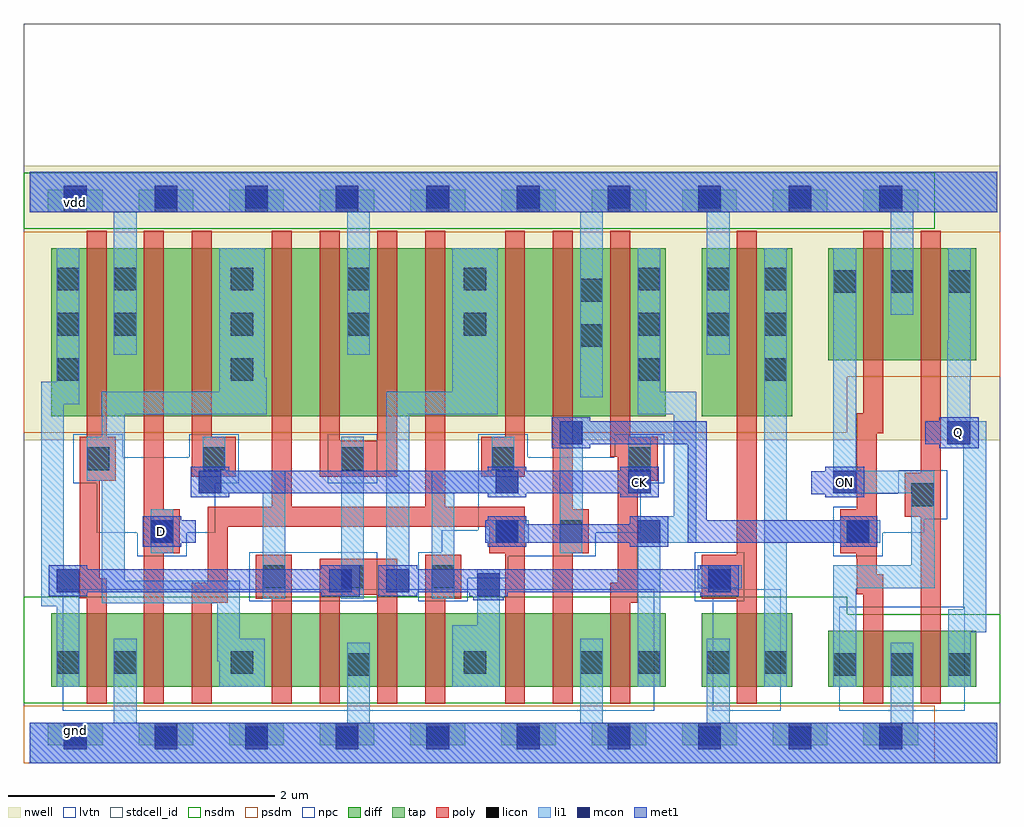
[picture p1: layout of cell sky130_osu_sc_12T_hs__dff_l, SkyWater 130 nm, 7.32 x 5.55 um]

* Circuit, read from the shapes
.subckt sky130_osu_sc_12T_hs__dff_l CK D ON Q gnd vdd
XM1 gnd n1 n2 gnd sky130_fd_pr__nfet_01v8_lvt w=0.55 l=0.15
XM2 n3 D gnd gnd sky130_fd_pr__nfet_01v8_lvt w=0.55 l=0.15
XM3 n1 n4 n3 gnd sky130_fd_pr__nfet_01v8_lvt w=0.55 l=0.15
XM4 n5 CK n1 gnd sky130_fd_pr__nfet_01v8_lvt w=0.55 l=0.15
XM5 gnd n2 n5 gnd sky130_fd_pr__nfet_01v8_lvt w=0.55 l=0.15
XM6 n6 n2 gnd gnd sky130_fd_pr__nfet_01v8_lvt w=0.55 l=0.15
XM7 n7 CK n6 gnd sky130_fd_pr__nfet_01v8_lvt w=0.55 l=0.15
XM8 n8 n4 n7 gnd sky130_fd_pr__nfet_01v8_lvt w=0.55 l=0.15
XM9 gnd n9 n8 gnd sky130_fd_pr__nfet_01v8_lvt w=0.55 l=0.15
XM10 n4 CK gnd gnd sky130_fd_pr__nfet_01v8_lvt w=0.55 l=0.15
XM11 n9 n7 gnd gnd sky130_fd_pr__nfet_01v8_lvt w=0.55 l=0.15
XM12 gnd n9 ON gnd sky130_fd_pr__nfet_01v8_lvt w=0.42 l=0.15
XM13 Q ON gnd gnd sky130_fd_pr__nfet_01v8_lvt w=0.42 l=0.15
XM14 vdd n1 n2 vdd sky130_fd_pr__pfet_01v8 w=1.26 l=0.15
XM15 n10 D vdd vdd sky130_fd_pr__pfet_01v8 w=1.26 l=0.15
XM16 n1 CK n10 vdd sky130_fd_pr__pfet_01v8 w=1.26 l=0.15
XM17 n11 n4 n1 vdd sky130_fd_pr__pfet_01v8 w=1.26 l=0.15
XM18 vdd n2 n11 vdd sky130_fd_pr__pfet_01v8 w=1.26 l=0.15
XM19 n12 n2 vdd vdd sky130_fd_pr__pfet_01v8 w=1.26 l=0.15
XM20 n7 n4 n12 vdd sky130_fd_pr__pfet_01v8 w=1.26 l=0.15
XM21 n13 CK n7 vdd sky130_fd_pr__pfet_01v8 w=1.26 l=0.15
XM22 vdd n9 n13 vdd sky130_fd_pr__pfet_01v8 w=1.26 l=0.15
XM23 n4 CK vdd vdd sky130_fd_pr__pfet_01v8 w=1.26 l=0.15
XM24 n9 n7 vdd vdd sky130_fd_pr__pfet_01v8 w=1.26 l=0.15
XM25 vdd n9 ON vdd sky130_fd_pr__pfet_01v8 w=0.84 l=0.15
XM26 Q ON vdd vdd sky130_fd_pr__pfet_01v8 w=0.84 l=0.15
.ends

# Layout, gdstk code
import gdstk
lib = gdstk.Library(unit=1e-6, precision=1e-09)
def R(c, l, rs):  # rectangles x0, y0, x1, y1
    for r in rs: c.add(gdstk.rectangle(r[:2], r[2:], *l))
def A(c, l, x, y, w, h, nx, ny, dx, dy):  # array of equal rectangles
    R(c, l, [(x+i*dx, y+j*dy, x+i*dx+w, y+j*dy+h) for i in range(nx) for j in range(ny)])
nwell = (64, 20)
diff = (65, 20)
tap = (65, 44)
poly = (66, 20)
licon = (66, 44)
li1 = (67, 20)
mcon = (67, 44)
met1 = (68, 20)
stdcell_id = (81, 4)
nsdm = (93, 44)
psdm = (94, 20)
npc = (95, 20)
lvtn = (125, 44)

sky130_osu_sc_12t_hs__df = lib.new_cell('sky130_osu_sc_12T_hs__dff_l')
R(sky130_osu_sc_12t_hs__df, nwell, [(-0.045,2.425,7.28,4.485)])
R(sky130_osu_sc_12t_hs__df, diff, [(0.16,0.575,4.77,1.125), (5.04,0.575,5.72,1.125), (5.99,0.575,7.1,0.995), (0.16,2.605,4.77,3.865), (5.04,2.605,5.72,3.865), (5.99,3.025,7.1,3.865)])
A(sky130_osu_sc_12t_hs__df, tap, 0.135, 0.135, 0.41, 0.17, 10, 2, 0.68, 4)
R(sky130_osu_sc_12t_hs__df, poly, [(0.425,0.445,0.575,1.24), (0.855,0.445,1.005,1.575), (1.215,0.445,1.365,1.205), (1.815,0.445,1.965,1.235), (2.175,0.445,2.325,1.265), (2.605,0.445,2.755,1.265), (2.965,0.445,3.115,1.235), (3.565,0.445,3.715,1.575), (3.925,0.445,4.075,1.575), (4.355,0.445,4.505,1.205), (5.305,0.445,5.455,1.235), (6.255,0.445,6.405,1.27), (6.685,0.445,6.835,1.85), (1.215,1.205,1.485,1.355), (4.355,1.205,4.56,1.355), (1.695,1.235,1.965,1.565), (2.965,1.235,3.235,1.565), (5.04,1.235,5.455,1.565), (0.375,1.24,0.575,1.39), (2.175,1.265,2.755,1.535), (6.205,1.27,6.405,1.42), (1.335,1.355,1.485,1.775), (4.41,1.355,4.56,2.12), (0.375,1.39,0.525,2.12), (6.205,1.42,6.355,1.54), (6.2,1.54,6.355,1.575), (5.305,1.565,5.455,3.995), (0.855,1.575,1.125,1.905), (3.445,1.575,3.715,1.775), (3.925,1.575,4.195,1.905), (6.08,1.575,6.355,1.905), (1.335,1.775,3.715,1.925), (6.565,1.85,6.835,2.18), (0.855,1.905,1.005,3.995), (3.925,1.905,4.075,3.995), (6.205,1.905,6.355,2.475), (1.815,1.925,1.965,3.995), (2.965,1.925,3.115,3.995), (0.375,2.12,0.645,2.45), (4.41,2.12,4.71,2.3), (1.215,2.15,1.545,2.45), (2.175,2.15,2.755,2.42), (3.385,2.15,3.715,2.45), (6.685,2.18,6.835,3.995), (4.355,2.3,4.71,2.45), (2.175,2.42,2.325,3.995), (2.605,2.42,2.755,3.995), (0.425,2.45,0.575,3.995), (1.215,2.45,1.365,3.995), (3.565,2.45,3.715,3.995), (4.355,2.45,4.505,3.995), (6.205,2.475,6.405,2.625), (6.255,2.625,6.405,3.995)])
A(sky130_osu_sc_12t_hs__df, licon, 0.255, 0.135, 0.17, 0.17, 10, 2, 0.68, 4)
A(sky130_osu_sc_12t_hs__df, licon, 6.03, 0.655, 0.17, 0.17, 3, 2, 0.43, 2.875)
A(sky130_osu_sc_12t_hs__df, licon, 0.2, 2.87, 0.17, 0.17, 1, 3, 0, 0.34)
A(sky130_osu_sc_12t_hs__df, licon, 4.56, 2.87, 0.17, 0.17, 1, 3, 0, 0.34)
A(sky130_osu_sc_12t_hs__df, licon, 5.51, 2.87, 0.17, 0.17, 1, 3, 0, 0.34)
A(sky130_osu_sc_12t_hs__df, licon, 0.63, 3.21, 0.17, 0.17, 4, 2, 0.875, 0.34)
R(sky130_osu_sc_12t_hs__df, licon, [(2.38,0.655,2.55,0.825), (0.2,0.67,0.37,0.84), (0.63,0.67,0.8,0.84), (1.505,0.67,1.675,0.84), (3.255,0.67,3.425,0.84), (4.13,0.67,4.3,0.84), (4.56,0.67,4.73,0.84), (5.08,0.67,5.25,0.84), (5.51,0.67,5.68,0.84), (1.745,1.315,1.915,1.485), (2.335,1.315,2.505,1.485), (3.015,1.315,3.185,1.485), (5.09,1.315,5.26,1.485), (0.905,1.655,1.075,1.825), (3.495,1.655,3.665,1.825), (3.975,1.655,4.145,1.825), (6.13,1.655,6.3,1.825), (6.615,1.93,6.785,2.1), (0.425,2.2,0.595,2.37), (1.295,2.2,1.465,2.37), (2.335,2.2,2.505,2.37), (3.465,2.2,3.635,2.37), (4.49,2.2,4.66,2.37), (1.505,2.87,1.675,3.04), (4.13,3.125,4.3,3.295), (5.08,3.21,5.25,3.38), (4.13,3.465,4.3,3.635), (5.08,3.55,5.25,3.72)])
R(sky130_osu_sc_12t_hs__df, li1, [(0,0,7.26,0.305), (0.63,0.305,0.8,0.935), (2.38,0.305,2.55,0.905), (4.13,0.305,4.3,0.935), (5.08,0.305,5.25,0.935), (6.46,0.305,6.63,0.905), (0.2,0.575,0.37,1.18), (1.42,0.575,1.76,0.765), (3.17,0.575,3.525,1.035), (4.56,0.575,4.73,1.655), (5.51,0.575,5.68,1.655), (6.03,0.575,6.2,1.315), (6.89,0.575,7.06,0.985), (1.405,0.765,1.76,0.935), (1.405,0.935,1.575,1.2), (6.89,0.985,7.175,1.155), (3.355,1.035,3.525,1.455), (7.005,1.155,7.175,2.395), (0.085,1.18,0.37,1.455), (0.54,1.2,1.575,1.37), (1.745,1.235,1.915,2.025), (2.335,1.235,2.505,1.285), (3.015,1.235,3.185,2.025), (2.245,1.285,2.505,1.455), (2.675,1.285,2.845,2.62), (5.09,1.285,5.26,1.315), (5.01,1.315,5.34,1.485), (6.03,1.315,6.79,1.485), (0.54,1.37,0.71,2.12), (0.085,1.455,0.255,2.695), (2.335,1.455,2.505,2.45), (6.615,1.485,6.79,1.745), (0.905,1.575,1.075,1.905), (3.975,1.575,4.145,1.725), (3.415,1.655,3.745,1.825), (4.56,1.655,5,1.855), (5.51,1.655,6.38,1.825), (3.975,1.725,4.15,2.565), (6.615,1.745,6.785,2.025), (5.51,1.825,5.68,3.865), (4.83,1.855,5,2.62), (1.265,2.025,1.915,2.195), (3.015,2.025,3.665,2.195), (4.49,2.025,4.66,2.45), (6.03,2.025,6.785,2.195), (0.425,2.12,0.71,2.45), (1.295,2.195,1.465,2.45), (3.465,2.195,3.635,2.45), (6.03,2.195,6.2,3.865), (6.885,2.395,7.175,2.565), (0.54,2.45,0.71,2.62), (6.885,2.565,7.055,2.88), (0.54,2.62,1.775,2.79), (2.675,2.62,3.51,2.79), (4.56,2.62,5,2.79), (0.085,2.695,0.37,2.865), (4.13,2.745,4.3,4.135), (1.42,2.79,1.775,2.895), (3.17,2.79,3.51,3.865), (4.56,2.79,4.73,3.865), (0.2,2.865,0.37,3.865), (6.885,2.88,7.06,3.175), (1.42,2.895,1.76,3.865), (0.63,3.065,0.8,4.135), (2.38,3.065,2.55,4.135), (5.08,3.065,5.25,4.135), (6.89,3.175,7.06,3.865), (6.46,3.365,6.63,4.135), (0,4.135,7.26,4.44)])
A(sky130_osu_sc_12t_hs__df, mcon, 0.255, 0.105, 0.17, 0.17, 10, 2, 0.68, 4.06)
R(sky130_osu_sc_12t_hs__df, mcon, [(3.355,1.255,3.525,1.425), (0.2,1.285,0.37,1.455), (2.245,1.285,2.415,1.455), (2.675,1.285,2.845,1.455), (5.09,1.285,5.26,1.455), (0.905,1.655,1.075,1.825), (3.495,1.655,3.665,1.825), (4.56,1.655,4.73,1.825), (6.13,1.655,6.3,1.825), (1.265,2.025,1.435,2.195), (3.495,2.025,3.665,2.195), (4.49,2.025,4.66,2.195), (6.03,2.025,6.2,2.195), (3.975,2.395,4.145,2.565), (6.885,2.395,7.055,2.565)])
R(sky130_osu_sc_12t_hs__df, met1, [(0,0,7.26,0.305), (3.325,1.225,3.555,1.255), (0.14,1.255,0.43,1.285), (2.185,1.255,2.475,1.285), (2.615,1.255,2.905,1.285), (3.295,1.255,3.585,1.285), (5.03,1.255,5.32,1.285), (0.14,1.285,2.475,1.455), (2.615,1.285,5.32,1.455), (0.14,1.455,0.43,1.485), (2.185,1.455,2.475,1.485), (2.615,1.455,2.905,1.485), (5.03,1.455,5.32,1.485), (0.845,1.625,1.135,1.655), (3.435,1.625,3.725,1.655), (4.5,1.625,4.79,1.655), (6.08,1.625,6.36,1.655), (0.845,1.655,1.245,1.825), (3.415,1.655,4.79,1.795), (4.935,1.655,6.36,1.825), (3.415,1.795,3.725,1.825), (4.5,1.795,4.79,1.855), (0.845,1.825,1.135,1.855), (3.435,1.825,3.725,1.855), (4.935,1.825,5.08,2.395), (6.08,1.825,6.36,1.855), (1.205,1.995,1.495,2.025), (3.435,1.995,3.725,2.025), (4.43,1.995,4.72,2.025), (5.97,1.995,6.26,2.02), (5.865,2.02,6.26,2.19), (1.205,2.025,4.72,2.195), (5.97,2.19,6.26,2.225), (1.205,2.195,1.495,2.225), (3.435,2.195,3.725,2.225), (4.43,2.195,4.72,2.225), (3.915,2.365,4.205,2.395), (6.825,2.365,7.12,2.395), (3.915,2.395,5.08,2.565), (6.72,2.395,7.12,2.565), (3.915,2.565,4.205,2.595), (6.825,2.565,7.12,2.595), (0,4.135,7.26,4.44)])
R(sky130_osu_sc_12t_hs__df, stdcell_id, [(-0.045,0,7.28,5.55)])
R(sky130_osu_sc_12t_hs__df, nsdm, [(-0.045,0.45,7.28,1.12), (-0.045,1.12,6.135,1.25), (-0.045,4.01,6.79,4.43)])
R(sky130_osu_sc_12t_hs__df, psdm, [(-0.045,0,6.79,0.43), (-0.045,2.48,6.135,2.9), (-0.045,2.9,7.28,3.99)])
R(sky130_osu_sc_12t_hs__df, npc, [(1.645,1.215,2.605,1.585), (2.915,1.215,3.285,1.39), (4.99,1.215,5.36,1.585), (2.915,1.39,3.59,1.555), (0.805,1.555,1.175,1.73), (2.915,1.555,4.245,1.585), (6.03,1.555,6.4,1.73), (3.09,1.585,4.245,1.73), (0.5,1.73,1.39,2.1), (3.09,1.73,4.585,1.75), (6.03,1.73,6.71,1.83), (3.365,1.75,4.585,2.1), (6.03,1.83,6.885,1.925), (6.205,1.925,6.885,2.025), (6.515,2.025,6.885,2.2), (0.325,2.1,1.565,2.295), (2.235,2.1,2.605,2.47), (3.365,2.1,4.76,2.295), (0.325,2.295,0.695,2.47), (1.195,2.295,1.565,2.47), (3.365,2.295,3.735,2.47), (4.39,2.295,4.76,2.47)])
R(sky130_osu_sc_12t_hs__df, lvtn, [(0.245,0.395,4.685,1.305), (5.125,0.395,5.635,1.305), (6.075,0.395,7.015,1.175)])
sky130_osu_sc_12t_hs__df.add(gdstk.Label('gnd', (0.34,0.245), layer=68, texttype=16))
sky130_osu_sc_12t_hs__df.add(gdstk.Label('vdd', (0.34,4.205), layer=68, texttype=16))
sky130_osu_sc_12t_hs__df.add(gdstk.Label('D', (0.99,1.74), layer=68, texttype=5))
sky130_osu_sc_12t_hs__df.add(gdstk.Label('CK', (4.575,2.11), layer=68, texttype=5))
sky130_osu_sc_12t_hs__df.add(gdstk.Label('ON', (6.115,2.11), layer=68, texttype=5))
sky130_osu_sc_12t_hs__df.add(gdstk.Label('Q', (6.97,2.48), layer=68, texttype=5))

lib.write_gds('sky130_osu_sc_12T_hs__dff_l.gds')
